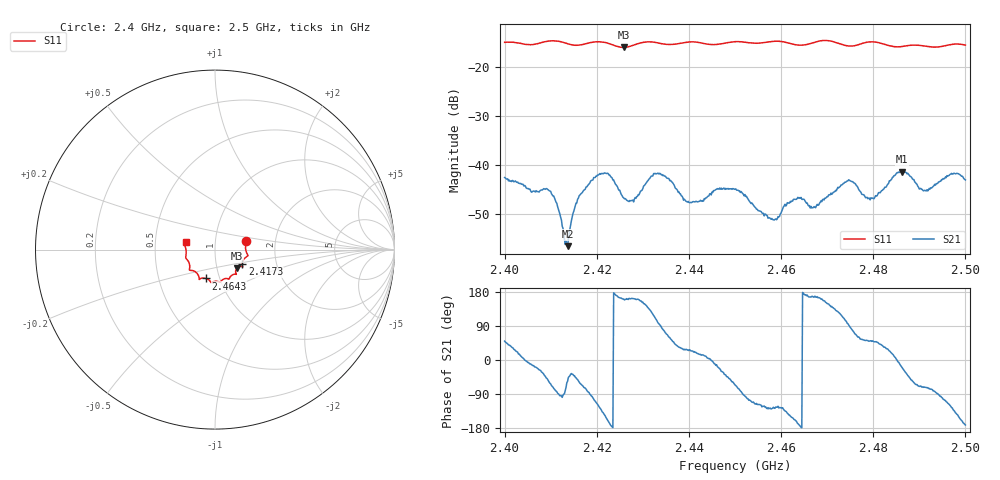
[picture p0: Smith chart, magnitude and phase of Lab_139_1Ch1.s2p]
# Hz S RI R 50
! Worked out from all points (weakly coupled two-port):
!   601 points, 2.4 GHz to 2.5 GHz, reference 50 ohm
!   highest |S21| = -41.38 dB at 2.4862 GHz (marker M1); lowest = -56.7 dB at 2.4137 GHz (marker M2)
!   lowest |S11| = -15.9 dB at 2.4258 GHz (marker M3), VSWR 1.38, Z = 62.3 - j13.3 ohm
!   |S11| at or under -10 dB: start of sweep to end of sweep
!   S12 and S22 are empty: the file has one direction only
!   S11 on the Smith chart (normalised r, x): 2.4 GHz: 1.41, +0.14; 2.4173 GHz: 1.34, -0.23; 2.4643 GHz: 0.86, -0.29; 2.5 GHz: 0.72, +0.06
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2.4e9  0.1733 0.0493  0.00478 0.00566  0 0  0 0
2.409667e9  0.1832 -0.0316  0.00287 -0.00461  0 0  0 0
2.413667e9  0.1686 -0.0446  0.000819 -0.00122  0 0  0 0
2.415e9  0.1591 -0.0556  0.0025 -0.00219  0 0  0 0
2.416667e9  0.1529 -0.0745  0.00219 -0.00461  0 0  0 0
2.417333e9  0.1523 -0.0818  0.00159 -0.00531  0 0  0 0
2.422e9  0.1515 -0.0948  -0.00719 -0.00387  0 0  0 0
2.425833e9  0.1217 -0.1037  -0.00433 0.00149  0 0  0 0
2.428e9  0.1146 -0.1237  -0.00396 0.00129  0 0  0 0
2.433333e9  0.113 -0.1367  -0.00105 0.00813  0 0  0 0
2.44e9  0.0794 -0.1633  0.00374 0.00173  0 0  0 0
2.45e9  0.0292 -0.1807  0.00231 -0.00511  0 0  0 0
2.458167e9  -0.0192 -0.1831  -0.00166 -0.00219  0 0  0 0
2.464333e9  -0.0501 -0.1609  -0.00463 -0.000207  0 0  0 0
2.466667e9  -0.076 -0.1597  -0.00353 0.000747  0 0  0 0
2.474333e9  -0.0999 -0.1322  -0.000849 0.00677  0 0  0 0
2.479333e9  -0.1417 -0.1145  0.00278 0.00338  0 0  0 0
2.483333e9  -0.1407 -0.0901  0.00581 0.00283  0 0  0 0
2.486167e9  -0.1507 -0.062  0.00811 -0.00266  0 0  0 0
2.491333e9  -0.1616 -0.0314  0.00166 -0.00519  0 0  0 0
2.497167e9  -0.1697 0.0271  -0.00479 -0.00645  0 0  0 0
2.5e9  -0.1637 0.042  -0.00693 -0.00102  0 0  0 0
